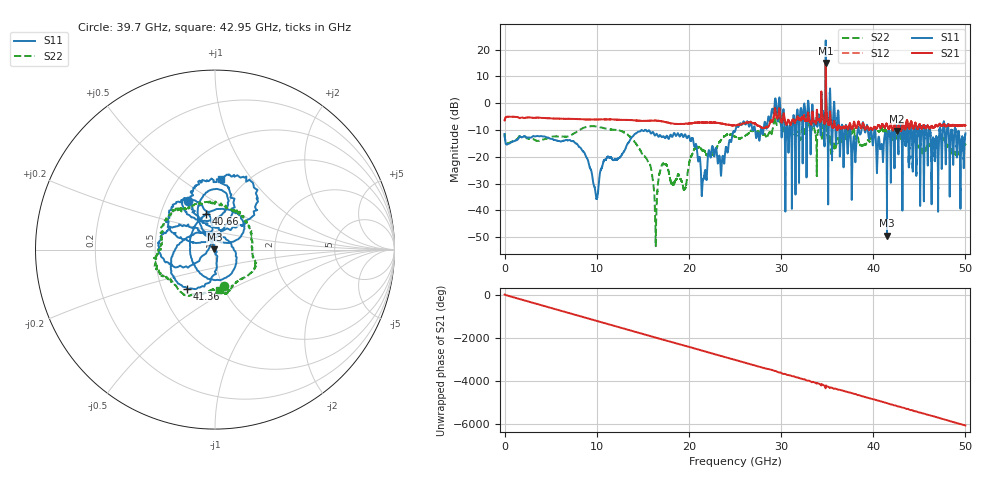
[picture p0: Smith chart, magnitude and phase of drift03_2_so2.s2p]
!Created with skrf (http://scikit-rf.org).
# Hz S RI R 50.0
!freq ReS11 ImS11 ReS21 ImS21 ReS12 ImS12 ReS22 ImS22
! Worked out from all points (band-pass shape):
!   10001 points, 300 kHz to 50 GHz, reference 50 ohm
!   highest |S21| = 15.05 dB at 34.85 GHz (marker M1); lowest = -10.4 dB at 42.56 GHz (marker M2)
!   |S21| within 3 dB of the highest: 34.83929 GHz to 34.85234 GHz (13.05 MHz wide, 0.0375 % of centre)
!   lowest |S11| = -49.5 dB at 41.49 GHz (marker M3), VSWR 1.01, Z = 49.7 + j0.146 ohm
!   |S11| at or under -10 dB: start of sweep to 15.23 GHz; 15.31 GHz to 25.05 GHz (9.738 GHz wide, 48.2 % of centre); 40.21 GHz to 41.71 GHz (1.498 GHz wide, 3.66 % of centre)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
!   |S22| runs from -53.4 to 6.9 dB; largest |S21 - S12| = 0.92
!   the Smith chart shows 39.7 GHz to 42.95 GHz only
!   S11 on the Smith chart (normalised r, x): 39.7 GHz: 0.65, +0.39; 40.66 GHz: 0.84, +0.35; 41.36 GHz: 0.67, -0.32; 42.95 GHz: 0.78, +0.72
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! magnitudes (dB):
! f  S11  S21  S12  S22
! 300 kHz  -11.5  -6.4  -6.4  -11.3
! 8.335 GHz  -17.1  -6.0  -6.0  -9.6
! 9.955 GHz  -35.5  -6.1  -6.1  -8.7
! 11 GHz  -21.0  -6.1  -6.0  -9.5
! 16.36 GHz  -11.9  -6.5  -6.5  -46.0
! 16.67 GHz  -12.4  -6.5  -6.5  -29.0
! 17.32 GHz  -12.6  -7.0  -6.9  -22.9
! 19.53 GHz  -11.8  -7.7  -7.7  -31.9
! 20.22 GHz  -14.0  -7.5  -7.5  -20.0
! 21.56 GHz  -28.3  -7.2  -7.2  -17.7
! 25 GHz  -10.6  -8.3  -8.3  -12.5
! 33.34 GHz  -3.9  -7.0  -6.9  -9.5
! 34.85 GHz  23.4  15.0  15.0  6.9
! 37.86 GHz  -13.1  -7.9  -7.9  -9.7
! 39.7 GHz  -10.1  -9.2  -9.1  -13.7
! 40.66 GHz  -13.7  -8.5  -8.5  -10.4
! 41.36 GHz  -11.5  -8.1  -8.1  -10.0
! 41.49 GHz  -49.5  -7.9  -8.0  -10.9
! 41.67 GHz  -10.3  -9.6  -9.6  -11.8
! 42.56 GHz  -8.7  -10.4  -10.5  -13.0
! 42.95 GHz  -8.1  -10.0  -10.1  -12.9
! 50 GHz  -11.3  -8.3  -8.3  -15.6
